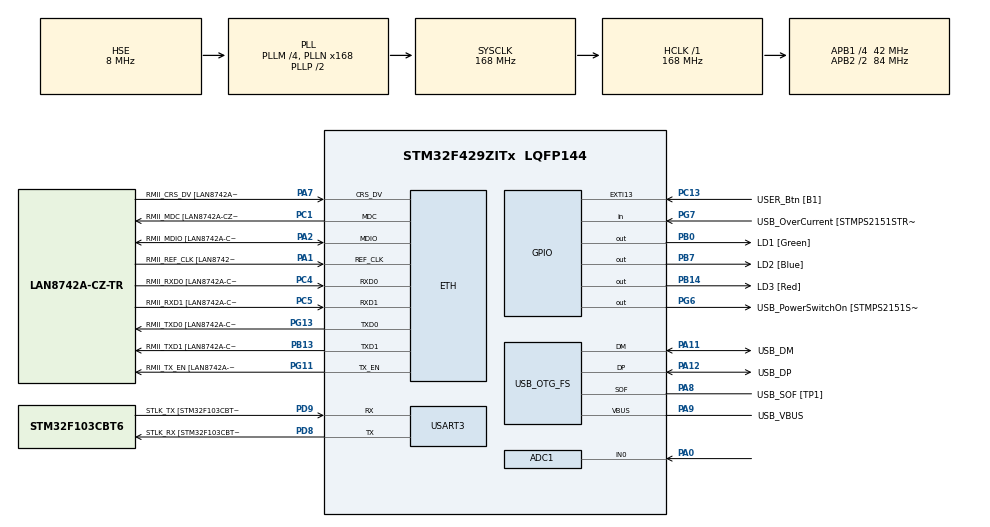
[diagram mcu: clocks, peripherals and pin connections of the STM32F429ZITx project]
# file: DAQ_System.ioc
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ADC1.Channel-3\#ChannelRegularConversion=ADC_CHANNEL_0
ADC1.ContinuousConvMode=ENABLE
ADC1.NbrOfConversionFlag=1
ADC1.Rank-3\#ChannelRegularConversion=1
ADC1.SamplingTime-3\#ChannelRegularConversion=ADC_SAMPLETIME_3CYCLES
ADC1.master=1
ETH.MediaInterface=HAL_ETH_RMII_MODE
ETH.PHY_Name=LAN8742A_PHY_ADDRESS
ETH.PHY_Value=0
ETH.PhyAddress=0
FREERTOS.Tasks01=defaultTask,24,128,StartDefaultTask,Default,NULL,Dynamic,NULL,NULL
Mcu.Family=STM32F4
Mcu.Name=STM32F429ZITx
Mcu.Package=LQFP144
NVIC.PriorityGroup=NVIC_PRIORITYGROUP_4
NVIC.TIM6_DAC_IRQn=true\:15\:0\:false\:false\:true\:false\:false\:true\:true
NVIC.TimeBase=TIM6_DAC_IRQn
NVIC.TimeBaseIP=TIM6
PA0/WKUP.Signal=ADCx_IN0
PA1.GPIO_Label=RMII_REF_CLK [LAN8742A-CZ-TR_REFCLK0]
PA1.Mode=RMII
PA1.Signal=ETH_REF_CLK
PA10.GPIO_Label=USB_ID
PA10.Signal=USB_OTG_FS_ID
PA11.GPIO_Label=USB_DM
PA11.Mode=Device_Only
PA11.Signal=USB_OTG_FS_DM
PA12.GPIO_Label=USB_DP
PA12.Mode=Device_Only
PA12.Signal=USB_OTG_FS_DP
PA13.GPIO_Label=TMS
PA13.Mode=Serial_Wire
PA13.Signal=SYS_JTMS-SWDIO
PA14.GPIO_Label=TCK
PA14.Mode=Serial_Wire
PA14.Signal=SYS_JTCK-SWCLK
PA2.GPIO_Label=RMII_MDIO [LAN8742A-CZ-TR_MDIO]
PA2.Mode=RMII
PA2.Signal=ETH_MDIO
PA7.GPIO_Label=RMII_CRS_DV [LAN8742A-CZ-TR_CRS_DV]
PA7.Mode=RMII
PA7.Signal=ETH_CRS_DV
PA8.GPIO_Label=USB_SOF [TP1]
PA8.Mode=Activate_SOF_FS
PA8.Signal=USB_OTG_FS_SOF
PA9.GPIO_Label=USB_VBUS
PA9.Mode=Activate_VBUS
PA9.Signal=USB_OTG_FS_VBUS
PB0.GPIO_Label=LD1 [Green]
PB0.Signal=GPIO_Output
PB13.GPIO_Label=RMII_TXD1 [LAN8742A-CZ-TR_TXD1]
PB13.Mode=RMII
PB13.Signal=ETH_TXD1
PB14.GPIO_Label=LD3 [Red]
PB14.Signal=GPIO_Output
PB7.GPIO_Label=LD2 [Blue]
PB7.Signal=GPIO_Output
PC1.GPIO_Label=RMII_MDC [LAN8742A-CZ-TR_MDC]
PC1.Mode=RMII
PC1.Signal=ETH_MDC
PC13.GPIO_Label=USER_Btn [B1]
PC13.Signal=GPXTI13
PC14/OSC32_IN.Mode=LSE-External-Oscillator
PC14/OSC32_IN.Signal=RCC_OSC32_IN
PC15/OSC32_OUT.Mode=LSE-External-Oscillator
PC15/OSC32_OUT.Signal=RCC_OSC32_OUT
PC4.GPIO_Label=RMII_RXD0 [LAN8742A-CZ-TR_RXD0]
PC4.Mode=RMII
PC4.Signal=ETH_RXD0
PC5.GPIO_Label=RMII_RXD1 [LAN8742A-CZ-TR_RXD1]
PC5.Mode=RMII
PC5.Signal=ETH_RXD1
PD8.GPIO_Label=STLK_RX [STM32F103CBT6_PA3]
PD8.Mode=Asynchronous
PD8.Signal=USART3_TX
PD9.GPIO_Label=STLK_TX [STM32F103CBT6_PA2]
PD9.Mode=Asynchronous
PD9.Signal=USART3_RX
PG11.GPIO_Label=RMII_TX_EN [LAN8742A-CZ-TR_TXEN]
PG11.Mode=RMII
PG11.Signal=ETH_TX_EN
PG13.GPIO_Label=RMII_TXD0 [LAN8742A-CZ-TR_TXD0]
PG13.Mode=RMII
PG13.Signal=ETH_TXD0
PG6.GPIO_Label=USB_PowerSwitchOn [STMPS2151STR_EN]
PG6.Signal=GPIO_Output
PG7.GPIO_Label=USB_OverCurrent [STMPS2151STR_FAULT]
PG7.Signal=GPIO_Input
PH0/OSC_IN.GPIO_Label=MCO [STM32F103CBT6_PA8]
PH0/OSC_IN.Mode=HSE-External-Clock-Source
PH0/OSC_IN.Signal=RCC_OSC_IN
PH1/OSC_OUT.Mode=HSE-External-Clock-Source
PH1/OSC_OUT.Signal=RCC_OSC_OUT
ProjectManager.HeapSize=0x200
ProjectManager.StackSize=0x400
ProjectManager.TargetToolchain=STM32CubeIDE
RCC.48MHZClocksFreq_Value=48000000
RCC.AHBFreq_Value=168000000
RCC.APB1CLKDivider=RCC_HCLK_DIV4
RCC.APB1Freq_Value=42000000
RCC.APB1TimFreq_Value=84000000
RCC.APB2CLKDivider=RCC_HCLK_DIV2
RCC.APB2Freq_Value=84000000
RCC.APB2TimCLKDivider=2
RCC.APB2TimFreq_Value=168000000
RCC.CortexFreq_Value=168000000
RCC.HCLKFreq_Value=168000000
RCC.HSE_VALUE=8000000
RCC.HSI_VALUE=16000000
RCC.PLLM=4
RCC.PLLMUL=RCC_PLL_MUL9
RCC.PLLN=168
RCC.PLLQ=7
RCC.PRESCALERUSB=RCC_USBCLKSOURCE_PLL_DIV1_5
RCC.SYSCLKFreq_VALUE=168000000
RCC.SYSCLKSource=RCC_SYSCLKSOURCE_PLLCLK
RCC.SYSCLKSourceVirtual=RCC_SYSCLKSOURCE_PLLCLK
RCC.USBFreq_Value=48000000
RCC.VCOOutputFreq_Value=336000000
SH.ADCx_IN0.0=ADC1_IN0,IN0
USART3.VirtualMode=VM_ASYNC
USB_OTG_FS.VirtualMode=Device_Only
VP_FREERTOS_VS_CMSIS_V2.Mode=CMSIS_V2
VP_IWDG_VS_IWDG.Mode=IWDG_Activate
VP_SYS_VS_tim6.Mode=TIM6
board=NUCLEO-F429ZI

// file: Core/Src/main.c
/* USER CODE BEGIN Header */
/**
  ******************************************************************************
  * @file           : main.c
  * @brief          : Main program body
  ******************************************************************************
  * @attention
  *
  * Copyright (c) 2023 STMicroelectronics.
  * All rights reserved.
  *
  * This software is licensed under terms that can be found in the LICENSE file
  * in the root directory of this software component.
  * If no LICENSE file comes with this software, it is provided AS-IS.
  *
  ******************************************************************************
  */
/* USER CODE END Header */
#include "main.h"
#include "cmsis_os.h"
#include "adc.h"
#include "eth.h"
#include "iwdg.h"
#include "usart.h"
#include "usb_otg.h"
#include "gpio.h"

/* USER CODE BEGIN Includes */
#include "../../Program/app.hpp"
#include "retarget.h"
/* USER CODE END Includes */

void SystemClock_Config(void);
void MX_FREERTOS_Init(void);

int main(void)
{

  /* MCU Configuration--------------------------------------------------------*/

  /* Reset of all peripherals, Initializes the Flash interface and the Systick. */
  HAL_Init();

  /* Configure the system clock */
  SystemClock_Config();

  /* Initialize all configured peripherals */
  MX_GPIO_Init();
  MX_ETH_Init();
  MX_USART3_UART_Init();
  MX_USB_OTG_FS_PCD_Init();
  MX_ADC1_Init();
  MX_IWDG_Init();
  /* USER CODE BEGIN 2 */
//  RetargetInit(&huart3);
  cppMain();

  /* USER CODE END 2 */

  /* Init scheduler */
  osKernelInitialize();  /* Call init function for freertos objects (in freertos.c) */
  MX_FREERTOS_Init();

  /* Start scheduler */
  osKernelStart();

  /* We should never get here as control is now taken by the scheduler */
  /* Infinite loop */
  while (1)
  {

  }
}

void SystemClock_Config(void)
{
  RCC_OscInitTypeDef RCC_OscInitStruct = {0};
  RCC_ClkInitTypeDef RCC_ClkInitStruct = {0};

  /** Configure the main internal regulator output voltage
  */
  __HAL_RCC_PWR_CLK_ENABLE();
  __HAL_PWR_VOLTAGESCALING_CONFIG(PWR_REGULATOR_VOLTAGE_SCALE1);

  /** Initializes the RCC Oscillators according to the specified parameters
  * in the RCC_OscInitTypeDef structure.
  */
  RCC_OscInitStruct.OscillatorType = RCC_OSCILLATORTYPE_LSI|RCC_OSCILLATORTYPE_HSE;
  RCC_OscInitStruct.HSEState = RCC_HSE_BYPASS;
  RCC_OscInitStruct.LSIState = RCC_LSI_ON;
  RCC_OscInitStruct.PLL.PLLState = RCC_PLL_ON;
  RCC_OscInitStruct.PLL.PLLSource = RCC_PLLSOURCE_HSE;
  RCC_OscInitStruct.PLL.PLLM = 4;
  RCC_OscInitStruct.PLL.PLLN = 168;
  RCC_OscInitStruct.PLL.PLLP = RCC_PLLP_DIV2;
  RCC_OscInitStruct.PLL.PLLQ = 7;
  if (HAL_RCC_OscConfig(&RCC_OscInitStruct) != HAL_OK)
  {
    Error_Handler();
  }

  /** Initializes the CPU, AHB and APB buses clocks
  */
  RCC_ClkInitStruct.ClockType = RCC_CLOCKTYPE_HCLK|RCC_CLOCKTYPE_SYSCLK
                              |RCC_CLOCKTYPE_PCLK1|RCC_CLOCKTYPE_PCLK2;
  RCC_ClkInitStruct.SYSCLKSource = RCC_SYSCLKSOURCE_PLLCLK;
  RCC_ClkInitStruct.AHBCLKDivider = RCC_SYSCLK_DIV1;
  RCC_ClkInitStruct.APB1CLKDivider = RCC_HCLK_DIV4;
  RCC_ClkInitStruct.APB2CLKDivider = RCC_HCLK_DIV2;

  if (HAL_RCC_ClockConfig(&RCC_ClkInitStruct, FLASH_LATENCY_5) != HAL_OK)
  {
    Error_Handler();
  }
}

/* USER CODE BEGIN 4 */
/**
  * @brief IWDG Initialization Function
  * @param None
  * @retval None
  */
static void MX_IWDG_Init(void)
{

  /* USER CODE BEGIN IWDG_Init 0 */

  /* USER CODE END IWDG_Init 0 */

  /* USER CODE BEGIN IWDG_Init 1 */

  /* USER CODE END IWDG_Init 1 */
  hiwdg.Instance = IWDG;
  hiwdg.Init.Prescaler = IWDG_PRESCALER_4;
  hiwdg.Init.Reload = 4095;
  if (HAL_IWDG_Init(&hiwdg) != HAL_OK)
  {
    Error_Handler();
  }
  /* USER CODE BEGIN IWDG_Init 2 */

  /* USER CODE END IWDG_Init 2 */

}

/* USER CODE END 4 */

void HAL_TIM_PeriodElapsedCallback(TIM_HandleTypeDef *htim)
{
  if (htim->Instance == TIM6) {
    HAL_IncTick();
  }
}

void Error_Handler(void)
{
  __disable_irq();
  while (1)
  {
  }
}

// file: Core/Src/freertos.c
/* USER CODE BEGIN Header */
/**
 ******************************************************************************
 * File Name          : freertos.c
 * Description        : Code for freertos applications
 ******************************************************************************
 * @attention
 *
 * Copyright (c) 2023 STMicroelectronics.
 * All rights reserved.
 *
 * This software is licensed under terms that can be found in the LICENSE file
 * in the root directory of this software component.
 * If no LICENSE file comes with this software, it is provided AS-IS.
 *
 ******************************************************************************
 */
/* USER CODE END Header */

#include "FreeRTOS.h"
#include "task.h"
#include "main.h"
#include "cmsis_os.h"

/* USER CODE BEGIN Includes */
#include <stdbool.h>

#include "usart.h"
extern UART_HandleTypeDef huart3;

#include "adc.h"
extern ADC_HandleTypeDef hadc1;

#include <stdio.h>
#include <inttypes.h>
#include "retarget.h"
/* USER CODE END Includes */

/* USER CODE BEGIN Variables */
osThreadId_t Task1Handle;
const osThreadAttr_t Task1_attributes = {
	.name = "Task1",
	.stack_size = 128 * 4,
	.priority = (osPriority_t) osPriorityNormal,
};

osThreadId_t Task2Handle;
const osThreadAttr_t Task2_attributes = {
	.name = "Task2",
	.stack_size = 128 * 4,
	.priority = (osPriority_t) osPriorityAboveNormal,
};

osThreadId_t Task3Handle;
const osThreadAttr_t Task3_attributes = {
	.name = "Task3",
	.stack_size = 128 * 4,
	.priority = (osPriority_t) osPriorityBelowNormal,
};
/* USER CODE END Variables */
/* Definitions for defaultTask */
osThreadId_t defaultTaskHandle;
const osThreadAttr_t defaultTask_attributes = {
  .name = "defaultTask",
  .stack_size = 128 * 4,
  .priority = (osPriority_t) osPriorityNormal,
};

/* USER CODE BEGIN FunctionPrototypes */
void Task1_init(void *argument);
void Task2_init(void *argument);
void Task3_init(void *argument);
/* USER CODE END FunctionPrototypes */

void StartDefaultTask(void *argument);

void MX_FREERTOS_Init(void); /* (MISRA C 2004 rule 8.1) */

void MX_FREERTOS_Init(void) {
  /* USER CODE BEGIN Init */

	Task1Handle = osThreadNew(Task1_init, NULL, &Task1_attributes);
	Task2Handle = osThreadNew(Task2_init, NULL, &Task2_attributes);
	Task3Handle = osThreadNew(Task3_init, NULL, &Task3_attributes);

	// Avoid initializing the auto-generated default task
	return;
  /* USER CODE END Init */

  /* Create the thread(s) */
  /* creation of defaultTask */
  defaultTaskHandle = osThreadNew(StartDefaultTask, NULL, &defaultTask_attributes);

}

void StartDefaultTask(void *argument)
{
	for (;;) {
		osDelay(1);
	}
}

/* USER CODE BEGIN Application */
void Task1_init(void *argument) {
	while (true) {
		uint8_t data[] = "Hello TASK1\n";
		HAL_UART_Transmit(&huart3, data, 12, 1000);
		osDelay(1000);
	}
}

void Task2_init(void *argument) {
	while (true) {
		uint8_t data[] = "Hello TASK2\n";
		HAL_UART_Transmit(&huart3, data, 12, 1000);
		osDelay(1000);
	}
}

void Task3_init(void *argument) {
	while (true) {
		uint8_t data[] = "Hello TASK3\n";
		HAL_UART_Transmit(&huart3, data, 12, 1000);
		osDelay(1000);
	}
}
/* USER CODE END Application */
